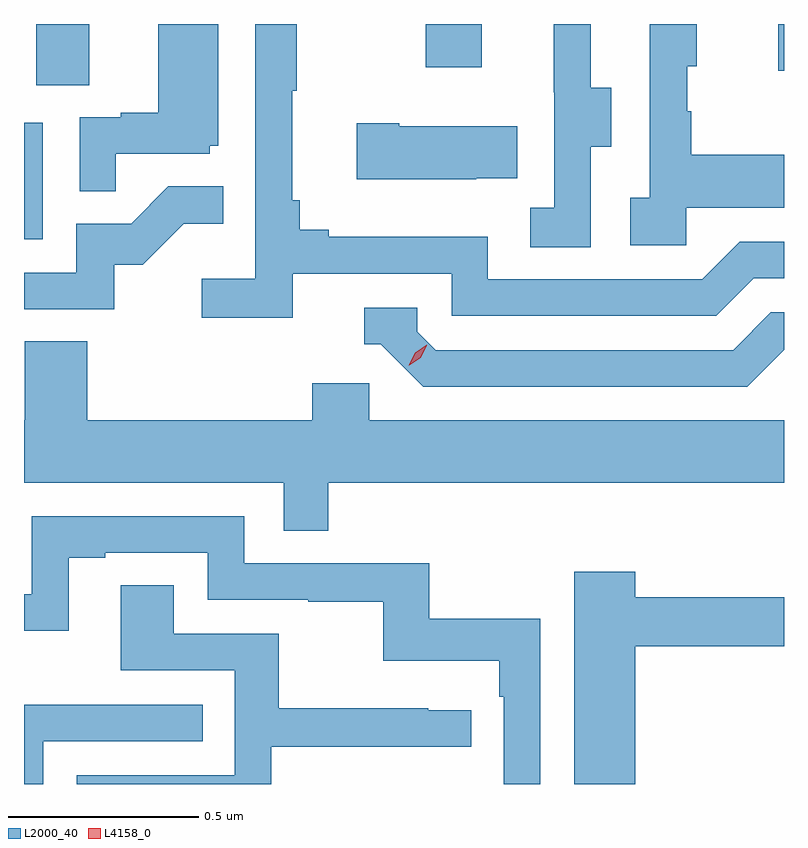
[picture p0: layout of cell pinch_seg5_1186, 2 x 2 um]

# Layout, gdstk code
import gdstk
lib = gdstk.Library(unit=1e-6, precision=1e-09)
def R(c, l, rs):  # rectangles x0, y0, x1, y1
    for r in rs: c.add(gdstk.rectangle(r[:2], r[2:], *l))
def P(c, l, *ps):  # polygons
    for p in ps: c.add(gdstk.Polygon(p, *l))
L2000_40 = (2000, 40)
L4158_0 = (4158, 0)

pinch_seg5_1186 = lib.new_cell('pinch_seg5_1186')
R(pinch_seg5_1186, L2000_40, [(852.969,840.084,853.018,840.391), (853.001,840.49,853.141,840.651), (854.954,840.528,854.969,840.651), (854.026,840.537,854.173,840.651)])
P(pinch_seg5_1186, L2000_40, [(854.712,840.167),(854.969,840.167),(854.969,840.307),(854.725,840.307),(854.725,840.422),(854.715,840.422),(854.715,840.54),(854.74,840.54),(854.74,840.651),(854.616,840.651),(854.616,840.194),(854.565,840.194),(854.565,840.069),(854.712,840.069)],
  [(854.46,840.328),(854.515,840.328),(854.515,840.483),(854.461,840.483),(854.461,840.651),(854.363,840.651),(854.363,840.471),(854.364,840.471),(854.364,840.167),(854.301,840.167),(854.301,840.064),(854.46,840.064)],
  [(853.676,839.994),(854.094,839.994),(854.094,839.883),(854.791,839.883),(854.89,839.982),(854.969,839.982),(854.969,840.078),(854.853,840.078),(854.754,839.979),(854.19,839.979),(854.19,840.091),(853.771,840.091),(853.771,840.11),(853.694,840.11),(853.694,840.187),(853.675,840.187),(853.675,840.475),(853.687,840.475),(853.687,840.651),(853.578,840.651),(853.578,839.98),(853.437,839.98),(853.437,839.878),(853.676,839.878)],
  [(853.211,840.309),(853.458,840.309),(853.458,840.33),(853.48,840.33),(853.48,840.651),(853.322,840.651),(853.322,840.418),(853.223,840.418),(853.223,840.405),(853.116,840.405),(853.116,840.211),(853.211,840.211)],
  [(854.159,840.245),(854.267,840.245),(854.267,840.382),(853.957,840.382),(853.957,840.39),(853.845,840.39),(853.845,840.242),(854.159,840.242)],
  [(853.206,840.018),(853.282,840.018),(853.389,840.125),(853.493,840.125),(853.493,840.224),(853.349,840.224),(853.251,840.126),(853.107,840.126),(853.107,839.997),(852.969,839.997),(852.969,839.901),(853.206,839.901)],
  [(854.969,839.794),(854.969,839.892),(854.934,839.892),(854.835,839.793),(854.052,839.793),(854.004,839.841),(854.004,839.904),(853.865,839.904),(853.865,839.808),(853.908,839.808),(854.019,839.697),(854.872,839.697)],
  [(853.769,839.444),(854.969,839.444),(854.969,839.608),(853.878,839.608),(853.878,839.706),(853.727,839.706),(853.727,839.608),(853.136,839.608),(853.136,839.816),(852.971,839.816),(852.971,839.608),(852.969,839.608),(852.969,839.444),(853.653,839.444),(853.653,839.317),(853.769,839.317)],
  [(854.328,839.086),(854.035,839.086),(854.035,839.232),(853.548,839.232),(853.548,839.355),(852.99,839.355),(852.99,839.151),(852.969,839.151),(852.969,839.054),(853.087,839.054),(853.087,839.247),(853.183,839.247),(853.183,839.259),(853.452,839.259),(853.452,839.136),(853.717,839.136),(853.717,839.131),(853.914,839.131),(853.914,838.976),(854.219,838.976),(854.219,838.88),(854.232,838.88),(854.232,838.651),(854.328,838.651)],
  [(854.578,839.014),(854.969,839.014),(854.969,839.143),(854.578,839.143),(854.578,839.209),(854.417,839.209),(854.417,838.651),(854.578,838.651)],
  [(853.62,838.749),(854.146,838.749),(854.146,838.845),(854.033,838.845),(854.033,838.85),(853.64,838.85),(853.64,839.046),(853.363,839.046),(853.363,839.174),(853.223,839.174),(853.223,838.95),(853.524,838.95),(853.524,838.674),(853.108,838.674),(853.108,838.651),(853.62,838.651)],
  [(853.02,838.764),(853.439,838.764),(853.439,838.86),(852.969,838.86),(852.969,838.651),(853.02,838.651)])
P(pinch_seg5_1186, L4158_0, [(853.982,839.753),(853.982,839.753),(853.998,839.786),(854.029,839.807),(854.029,839.807),(854.029,839.806),(854.013,839.773),(853.983,839.753)])

lib.write_gds('pinch_seg5_1186.gds')
